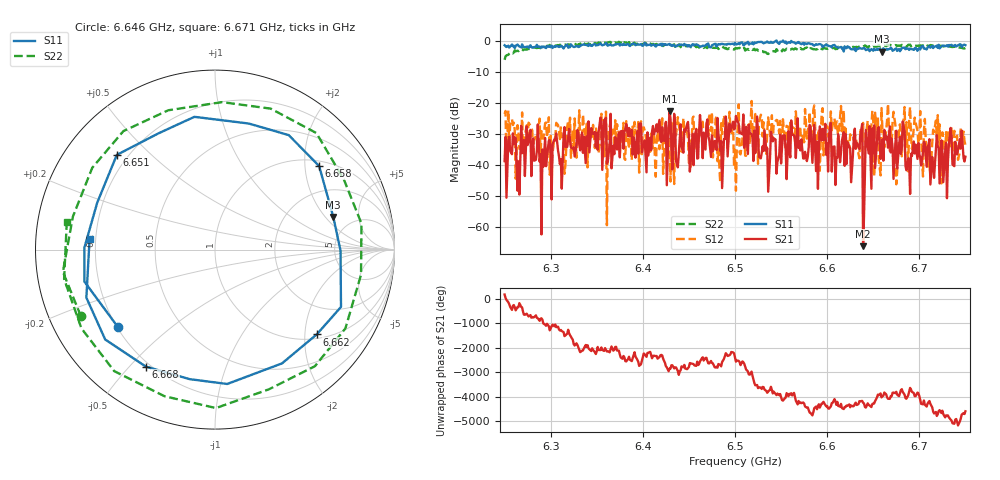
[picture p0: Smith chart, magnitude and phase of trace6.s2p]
# Hz S RI R 50
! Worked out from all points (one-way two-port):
!   401 points, 6.25 GHz to 6.75 GHz, reference 50 ohm
!   highest |S21| = -22.53 dB at 6.429 GHz (marker M1); lowest = -66.3 dB at 6.639 GHz (marker M2)
!   lowest |S11| = -3.3 dB at 6.659 GHz (marker M3), VSWR 5.33, Z = 178 + j122 ohm
!   |S11| at or under -10 dB: nowhere
!   |S22| runs from -6.0 to -0.1 dB; largest |S21 - S12| = 0.13
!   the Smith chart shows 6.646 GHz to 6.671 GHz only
!   S11 on the Smith chart (normalised r, x): 6.646 GHz: 0.20, -0.34; 6.651 GHz: 0.16, +0.39; 6.658 GHz: 1.14, +2.37; 6.662 GHz: 1.11, -2.30; 6.668 GHz: 0.18, -0.56; 6.671 GHz: 0.18, +0.04
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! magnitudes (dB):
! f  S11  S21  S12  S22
! 6.25 GHz  -1.3  -38.8  -23.5  -6.0
! 6.301 GHz  -1.4  -51.2  -42.8  -1.7
! 6.334 GHz  -1.2  -29.5  -32.1  -1.1
! 6.418 GHz  -1.2  -25.4  -34.9  -0.8
! 6.429 GHz  -0.8  -22.5  -33.9  -1.1
! 6.484 GHz  -1.0  -35.5  -45.8  -1.9
! 6.488 GHz  -1.0  -31.6  -23.9  -2.1
! 6.5 GHz  -0.5  -28.0  -35.1  -2.3
! 6.536 GHz  -0.4  -48.7  -24.6  -4.1
! 6.584 GHz  -0.9  -39.3  -31.5  -2.4
! 6.635 GHz  -2.1  -34.8  -37.9  -1.6
! 6.639 GHz  -2.3  -66.3  -26.4  -1.6
! 6.646 GHz  -3.2  -27.5  -32.2  -1.6
! 6.651 GHz  -2.4  -27.2  -43.7  -1.6
! 6.658 GHz  -2.6  -38.1  -43.4  -1.8
! 6.659 GHz  -3.3  -35.6  -21.6  -1.6
! 6.662 GHz  -2.6  -28.6  -34.4  -1.4
! 6.668 GHz  -2.4  -27.5  -35.7  -1.1
! 6.671 GHz  -3.1  -34.4  -26.0  -1.5
! 6.71 GHz  -1.7  -33.3  -34.5  -1.7
! 6.718 GHz  -1.6  -35.0  -25.7  -1.5
! 6.75 GHz  -1.2  -37.4  -33.6  -2.2
